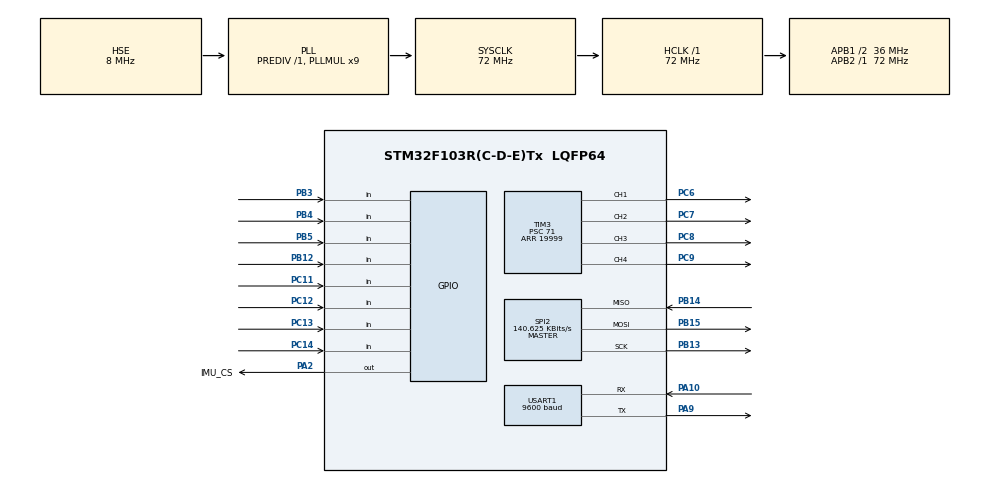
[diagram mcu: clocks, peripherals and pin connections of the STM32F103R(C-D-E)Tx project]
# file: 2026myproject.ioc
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Mcu.Family=STM32F1
Mcu.Name=STM32F103R(C-D-E)Tx
Mcu.Package=LQFP64
NVIC.PriorityGroup=NVIC_PRIORITYGROUP_4
NVIC.TIM3_IRQn=true\:0\:0\:false\:false\:true\:true\:true\:true
NVIC.USART1_IRQn=true\:1\:0\:true\:false\:true\:true\:true\:true
PA10.Mode=Asynchronous
PA10.Signal=USART1_RX
PA13.Mode=Serial_Wire
PA13.Signal=SYS_JTMS-SWDIO
PA14.Mode=Serial_Wire
PA14.Signal=SYS_JTCK-SWCLK
PA2.GPIO_Label=IMU_CS
PA2.PinState=GPIO_PIN_SET
PA2.GPIO_Speed=GPIO_SPEED_FREQ_HIGH
PA2.Signal=GPIO_Output
PB13.Mode=Full_Duplex_Master
PB13.Signal=SPI2_SCK
PB14.Mode=Full_Duplex_Master
PB14.Signal=SPI2_MISO
PB15.Mode=Full_Duplex_Master
PB15.Signal=SPI2_MOSI
PA9.Mode=Asynchronous
PA9.Signal=USART1_TX
PB12.Signal=GPIO_Input
PB3.Signal=GPIO_Input
PB4.Signal=GPIO_Input
PB5.Signal=GPIO_Input
PC11.Signal=GPIO_Input
PC12.Signal=GPIO_Input
PC13-TAMPER-RTC.Signal=GPIO_Input
PC14-OSC32_IN.Signal=GPIO_Input
PC6.Signal=S_TIM3_CH1
PC7.Signal=S_TIM3_CH2
PC8.Signal=S_TIM3_CH3
PC9.Signal=S_TIM3_CH4
PD0-OSC_IN.Mode=HSE-External-Oscillator
PD0-OSC_IN.Signal=RCC_OSC_IN
PD1-OSC_OUT.Mode=HSE-External-Oscillator
PD1-OSC_OUT.Signal=RCC_OSC_OUT
ProjectManager.HeapSize=0x200
ProjectManager.StackSize=0x800
ProjectManager.TargetToolchain=MDK-ARM V5.32
RCC.AHBFreq_Value=72000000
RCC.APB1CLKDivider=RCC_HCLK_DIV2
RCC.APB1Freq_Value=36000000
RCC.APB1TimFreq_Value=72000000
RCC.APB2Freq_Value=72000000
RCC.APB2TimFreq_Value=72000000
RCC.HCLKFreq_Value=72000000
RCC.PLLMUL=RCC_PLL_MUL9
RCC.PLLSourceVirtual=RCC_PLLSOURCE_HSE
RCC.SYSCLKFreq_VALUE=72000000
RCC.SYSCLKSource=RCC_SYSCLKSOURCE_PLLCLK
RCC.USBFreq_Value=72000000
SH.S_TIM3_CH1.0=TIM3_CH1,PWM Generation1 CH1
SH.S_TIM3_CH2.0=TIM3_CH2,PWM Generation2 CH2
SH.S_TIM3_CH3.0=TIM3_CH3,PWM Generation3 CH3
SH.S_TIM3_CH4.0=TIM3_CH4,PWM Generation4 CH4
TIM3.Channel-PWM\ Generation1\ CH1=TIM_CHANNEL_1
TIM3.Channel-PWM\ Generation2\ CH2=TIM_CHANNEL_2
TIM3.Channel-PWM\ Generation3\ CH3=TIM_CHANNEL_3
TIM3.Channel-PWM\ Generation4\ CH4=TIM_CHANNEL_4
TIM3.OCPolarity_1=TIM_OCPOLARITY_LOW
TIM3.OCPolarity_2=TIM_OCPOLARITY_LOW
TIM3.OCPolarity_3=TIM_OCPOLARITY_LOW
TIM3.OCPolarity_4=TIM_OCPOLARITY_LOW
TIM3.Period=19999
TIM3.Prescaler=71
TIM3.Pulse-PWM\ Generation1\ CH1=1000
TIM3.Pulse-PWM\ Generation2\ CH2=1000
TIM3.Pulse-PWM\ Generation3\ CH3=1500
TIM3.Pulse-PWM\ Generation4\ CH4=1500
USART1.BaudRate=9600
USART1.VirtualMode=VM_ASYNC
VP_TIM3_VS_ClockSourceINT.Mode=Internal
board=custom
SPI2.BaudRatePrescaler=SPI_BAUDRATEPRESCALER_256
SPI2.CLKPhase=SPI_PHASE_2EDGE
SPI2.CLKPolarity=SPI_POLARITY_HIGH
SPI2.CalculateBaudRate=140.625 KBits/s
SPI2.Direction=SPI_DIRECTION_2LINES
SPI2.Mode=SPI_MODE_MASTER
SPI2.VirtualType=VM_MASTER

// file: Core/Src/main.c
/* USER CODE BEGIN Header */
/**
  ******************************************************************************
  * @file           : main.c
  * @brief          : Main program body
  ******************************************************************************
  * @attention
  *
  * Copyright (c) 2026 STMicroelectronics.
  * All rights reserved.
  *
  * This software is licensed under terms that can be found in the LICENSE file
  * in the root directory of this software component.
  * If no LICENSE file comes with this software, it is provided AS-IS.
  *
  ******************************************************************************
  */
/* USER CODE END Header */
#include "main.h"

/* USER CODE BEGIN Includes */
#include "pwm.h"
#include "usart.h"
#include "pid.h"
#include "ir.h"
#include "oled.h"
#include "imu.h"
#include "stage.h"

/* USER CODE END Includes */

SPI_HandleTypeDef hspi2;

TIM_HandleTypeDef htim3;

UART_HandleTypeDef huart1;

void SystemClock_Config(void);
static void MX_GPIO_Init(void);
static void MX_SPI2_Init(void);
static void MX_TIM3_Init(void);
static void MX_USART1_UART_Init(void);

int main(void)
{

  /* MCU Configuration--------------------------------------------------------*/

  /* Reset of all peripherals, Initializes the Flash interface and the Systick. */
  HAL_Init();

  /* Configure the system clock */
  SystemClock_Config();

  /* Initialize all configured peripherals */
  MX_GPIO_Init();
  MX_TIM3_Init();
  MX_USART1_UART_Init();
  MX_SPI2_Init();
  /* USER CODE BEGIN 2 */
	PWM_Init();
	OLED_Init();
	UART_Init();
	IMU_Init(); /* 上电停车，主循环静止校准后等待 Track=1。 */
	Stage_Init();
	__HAL_TIM_CLEAR_FLAG(&htim3, TIM_FLAG_UPDATE);
	__HAL_TIM_ENABLE_IT(&htim3, TIM_IT_UPDATE);
  /* USER CODE END 2 */

  /* Infinite loop */
  /* USER CODE BEGIN WHILE */
  while (1)
  {
    IMU_Task(); /* 轮询采样、静止校准并发布 YAW；阶段更新在 TIM3 中断。 */
	UART_Task();
    OLED_ShowIMUAngle();
    //IR_Update();

	// UART_IR();//红外变化回报，IR=0/1 控制开关
    /* USER CODE END WHILE */

  }
}

void SystemClock_Config(void)
{
  RCC_OscInitTypeDef RCC_OscInitStruct = {0};
  RCC_ClkInitTypeDef RCC_ClkInitStruct = {0};

  /** Initializes the RCC Oscillators according to the specified parameters
  * in the RCC_OscInitTypeDef structure.
  */
  RCC_OscInitStruct.OscillatorType = RCC_OSCILLATORTYPE_HSE;
  RCC_OscInitStruct.HSEState = RCC_HSE_ON;
  RCC_OscInitStruct.HSEPredivValue = RCC_HSE_PREDIV_DIV1;
  RCC_OscInitStruct.HSIState = RCC_HSI_ON;
  RCC_OscInitStruct.PLL.PLLState = RCC_PLL_ON;
  RCC_OscInitStruct.PLL.PLLSource = RCC_PLLSOURCE_HSE;
  RCC_OscInitStruct.PLL.PLLMUL = RCC_PLL_MUL9;
  if (HAL_RCC_OscConfig(&RCC_OscInitStruct) != HAL_OK)
  {
    Error_Handler();
  }

  /** Initializes the CPU, AHB and APB buses clocks
  */
  RCC_ClkInitStruct.ClockType = RCC_CLOCKTYPE_HCLK|RCC_CLOCKTYPE_SYSCLK
                              |RCC_CLOCKTYPE_PCLK1|RCC_CLOCKTYPE_PCLK2;
  RCC_ClkInitStruct.SYSCLKSource = RCC_SYSCLKSOURCE_PLLCLK;
  RCC_ClkInitStruct.AHBCLKDivider = RCC_SYSCLK_DIV1;
  RCC_ClkInitStruct.APB1CLKDivider = RCC_HCLK_DIV2;
  RCC_ClkInitStruct.APB2CLKDivider = RCC_HCLK_DIV1;

  if (HAL_RCC_ClockConfig(&RCC_ClkInitStruct, FLASH_LATENCY_2) != HAL_OK)
  {
    Error_Handler();
  }
}

/** SPI2 保留参考接线：PB13 SCK / PB14 MISO / PB15 MOSI / PC10 CS。
  * 与 .ioc 同步；重新生成时由 CubeMX 维护本初始化函数。 */
static void MX_SPI2_Init(void)
{
  hspi2.Instance = SPI2;
  hspi2.Init.Mode = SPI_MODE_MASTER;
  hspi2.Init.Direction = SPI_DIRECTION_2LINES;
  hspi2.Init.DataSize = SPI_DATASIZE_8BIT;
  hspi2.Init.CLKPolarity = SPI_POLARITY_HIGH;
  hspi2.Init.CLKPhase = SPI_PHASE_2EDGE;
  hspi2.Init.NSS = SPI_NSS_SOFT;
  hspi2.Init.BaudRatePrescaler = SPI_BAUDRATEPRESCALER_256;
  hspi2.Init.FirstBit = SPI_FIRSTBIT_MSB;
  hspi2.Init.TIMode = SPI_TIMODE_DISABLE;
  hspi2.Init.CRCCalculation = SPI_CRCCALCULATION_DISABLE;
  hspi2.Init.CRCPolynomial = 7;
  if (HAL_SPI_Init(&hspi2) != HAL_OK) Error_Handler();
}

static void MX_TIM3_Init(void)
{

  TIM_ClockConfigTypeDef sClockSourceConfig = {0};
  TIM_MasterConfigTypeDef sMasterConfig = {0};
  TIM_OC_InitTypeDef sConfigOC = {0};

  htim3.Instance = TIM3;
  htim3.Init.Prescaler = 71;
  htim3.Init.CounterMode = TIM_COUNTERMODE_UP;
  htim3.Init.Period = 19999;
  htim3.Init.ClockDivision = TIM_CLOCKDIVISION_DIV1;
  htim3.Init.AutoReloadPreload = TIM_AUTORELOAD_PRELOAD_DISABLE;
  if (HAL_TIM_Base_Init(&htim3) != HAL_OK)
  {
    Error_Handler();
  }
  sClockSourceConfig.ClockSource = TIM_CLOCKSOURCE_INTERNAL;
  if (HAL_TIM_ConfigClockSource(&htim3, &sClockSourceConfig) != HAL_OK)
  {
    Error_Handler();
  }
  if (HAL_TIM_PWM_Init(&htim3) != HAL_OK)
  {
    Error_Handler();
  }
  sMasterConfig.MasterOutputTrigger = TIM_TRGO_RESET;
  sMasterConfig.MasterSlaveMode = TIM_MASTERSLAVEMODE_DISABLE;
  if (HAL_TIMEx_MasterConfigSynchronization(&htim3, &sMasterConfig) != HAL_OK)
  {
    Error_Handler();
  }
  sConfigOC.OCMode = TIM_OCMODE_PWM1;
  sConfigOC.Pulse = 1000;
  sConfigOC.OCPolarity = TIM_OCPOLARITY_LOW;
  sConfigOC.OCFastMode = TIM_OCFAST_DISABLE;
  if (HAL_TIM_PWM_ConfigChannel(&htim3, &sConfigOC, TIM_CHANNEL_1) != HAL_OK)
  {
    Error_Handler();
  }
  if (HAL_TIM_PWM_ConfigChannel(&htim3, &sConfigOC, TIM_CHANNEL_2) != HAL_OK)
  {
    Error_Handler();
  }
  sConfigOC.Pulse = 1500;
  if (HAL_TIM_PWM_ConfigChannel(&htim3, &sConfigOC, TIM_CHANNEL_3) != HAL_OK)
  {
    Error_Handler();
  }
  if (HAL_TIM_PWM_ConfigChannel(&htim3, &sConfigOC, TIM_CHANNEL_4) != HAL_OK)
  {
    Error_Handler();
  }
  HAL_TIM_MspPostInit(&htim3);

}

static void MX_USART1_UART_Init(void)
{

  huart1.Instance = USART1;
  huart1.Init.BaudRate = 9600;
  huart1.Init.WordLength = UART_WORDLENGTH_8B;
  huart1.Init.StopBits = UART_STOPBITS_1;
  huart1.Init.Parity = UART_PARITY_NONE;
  huart1.Init.Mode = UART_MODE_TX_RX;
  huart1.Init.HwFlowCtl = UART_HWCONTROL_NONE;
  huart1.Init.OverSampling = UART_OVERSAMPLING_16;
  if (HAL_UART_Init(&huart1) != HAL_OK)
  {
    Error_Handler();
  }

}

static void MX_GPIO_Init(void)
{
  GPIO_InitTypeDef GPIO_InitStruct = {0};

  /* GPIO Ports Clock Enable */
  __HAL_RCC_GPIOC_CLK_ENABLE();
  __HAL_RCC_GPIOD_CLK_ENABLE();
  __HAL_RCC_GPIOB_CLK_ENABLE();
  __HAL_RCC_GPIOA_CLK_ENABLE();

  /* PC10 片选上电先拉高，避免误选中；引脚在 .ioc 同步维护。 */
  HAL_GPIO_WritePin(IMU_CS_GPIO_Port, IMU_CS_Pin, GPIO_PIN_SET);
  GPIO_InitStruct.Pin = IMU_CS_Pin;
  GPIO_InitStruct.Mode = GPIO_MODE_OUTPUT_PP;
  GPIO_InitStruct.Pull = GPIO_NOPULL;
  GPIO_InitStruct.Speed = GPIO_SPEED_FREQ_HIGH;
  HAL_GPIO_Init(IMU_CS_GPIO_Port, &GPIO_InitStruct);

  /*Configure GPIO pins : PC13 PC14 PC11 PC12 */
  GPIO_InitStruct.Pin = GPIO_PIN_13|GPIO_PIN_14|GPIO_PIN_11|GPIO_PIN_12;
  GPIO_InitStruct.Mode = GPIO_MODE_INPUT;
  GPIO_InitStruct.Pull = GPIO_NOPULL;
  HAL_GPIO_Init(GPIOC, &GPIO_InitStruct);

  /*Configure GPIO pins : PB12 PB3 PB4 PB5 */
  GPIO_InitStruct.Pin = GPIO_PIN_12|GPIO_PIN_3|GPIO_PIN_4|GPIO_PIN_5;
  GPIO_InitStruct.Mode = GPIO_MODE_INPUT;
  GPIO_InitStruct.Pull = GPIO_NOPULL;
  HAL_GPIO_Init(GPIOB, &GPIO_InitStruct);

}

/* USER CODE BEGIN 4 */
/**
  * @brief  TIM3 20ms 周期中断回调
  * @note   按当前阶段读取红外或已发布角度，计算 PID 并更新 PWM。
  *         此处不要进行串口发送、屏幕刷新、字符串格式化或延时。
  */
void HAL_TIM_PeriodElapsedCallback(TIM_HandleTypeDef *htim)
{
  if (htim->Instance == TIM3)
  {
    tim3_pid_tick_count++;
    Stage_Update();
  }
}
/* USER CODE END 4 */

void Error_Handler(void)
{
  __disable_irq();
  while (1)
  {
  }
}
